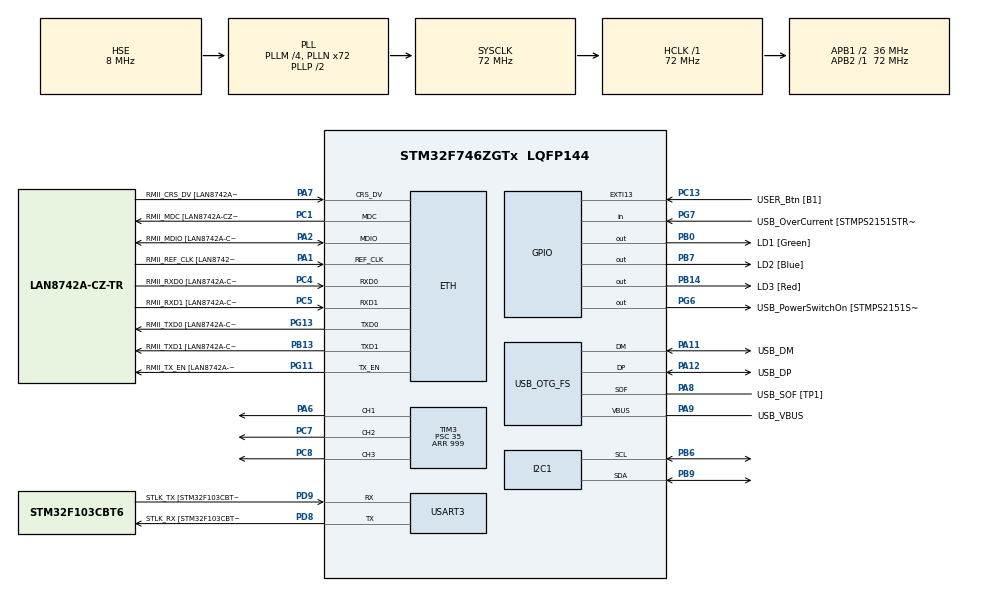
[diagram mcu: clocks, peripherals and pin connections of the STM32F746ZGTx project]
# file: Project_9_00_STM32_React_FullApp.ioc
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ETH.MediaInterface=ETH_MEDIA_INTERFACE_RMII
ETH.PHY_Name=LAN8742A_PHY_ADDRESS
ETH.PHY_Value=0
ETH.PhyAddress=0
I2C1.Timing=0x00808CD2
Mcu.Family=STM32F7
Mcu.Name=STM32F746ZGTx
Mcu.Package=LQFP144
NVIC.PriorityGroup=NVIC_PRIORITYGROUP_4
NVIC.USART3_IRQn=true\:0\:0\:false\:false\:true\:true\:true
PA1.GPIO_Label=RMII_REF_CLK [LAN8742A-CZ-TR_REFCLK0]
PA1.Mode=RMII
PA1.Signal=ETH_REF_CLK
PA10.GPIO_Label=USB_ID
PA10.Signal=USB_OTG_FS_ID
PA11.GPIO_Label=USB_DM
PA11.Mode=Device_Only
PA11.Signal=USB_OTG_FS_DM
PA12.GPIO_Label=USB_DP
PA12.Mode=Device_Only
PA12.Signal=USB_OTG_FS_DP
PA13.GPIO_Label=TMS
PA13.Mode=Serial_Wire
PA13.Signal=SYS_JTMS-SWDIO
PA14.GPIO_Label=TCK
PA14.Mode=Serial_Wire
PA14.Signal=SYS_JTCK-SWCLK
PA2.GPIO_Label=RMII_MDIO [LAN8742A-CZ-TR_MDIO]
PA2.Mode=RMII
PA2.Signal=ETH_MDIO
PA6.Signal=S_TIM3_CH1
PA7.GPIO_Label=RMII_CRS_DV [LAN8742A-CZ-TR_CRS_DV]
PA7.Mode=RMII
PA7.Signal=ETH_CRS_DV
PA8.GPIO_Label=USB_SOF [TP1]
PA8.Mode=Activate_SOF_FS
PA8.Signal=USB_OTG_FS_SOF
PA9.GPIO_Label=USB_VBUS
PA9.Mode=Activate_VBUS
PA9.Signal=USB_OTG_FS_VBUS
PB0.GPIO_Label=LD1 [Green]
PB0.Signal=GPIO_Output
PB13.GPIO_Label=RMII_TXD1 [LAN8742A-CZ-TR_TXD1]
PB13.Mode=RMII
PB13.Signal=ETH_TXD1
PB14.GPIO_Label=LD3 [Red]
PB14.Signal=GPIO_Output
PB3.GPIO_Label=SW0
PB3.Signal=SYS_JTDO-SWO
PB6.Mode=I2C
PB6.Signal=I2C1_SCL
PB7.GPIO_Label=LD2 [Blue]
PB7.Signal=GPIO_Output
PB9.Mode=I2C
PB9.Signal=I2C1_SDA
PC1.GPIO_Label=RMII_MDC [LAN8742A-CZ-TR_MDC]
PC1.Mode=RMII
PC1.Signal=ETH_MDC
PC13.GPIO_Label=USER_Btn [B1]
PC13.Signal=GPXTI13
PC14/OSC32_IN.Mode=LSE-External-Oscillator
PC14/OSC32_IN.Signal=RCC_OSC32_IN
PC15/OSC32_OUT.Mode=LSE-External-Oscillator
PC15/OSC32_OUT.Signal=RCC_OSC32_OUT
PC4.GPIO_Label=RMII_RXD0 [LAN8742A-CZ-TR_RXD0]
PC4.Mode=RMII
PC4.Signal=ETH_RXD0
PC5.GPIO_Label=RMII_RXD1 [LAN8742A-CZ-TR_RXD1]
PC5.Mode=RMII
PC5.Signal=ETH_RXD1
PC7.Signal=S_TIM3_CH2
PC8.Signal=S_TIM3_CH3
PD8.GPIO_Label=STLK_RX [STM32F103CBT6_PA3]
PD8.Mode=Asynchronous
PD8.Signal=USART3_TX
PD9.GPIO_Label=STLK_TX [STM32F103CBT6_PA2]
PD9.Mode=Asynchronous
PD9.Signal=USART3_RX
PG11.GPIO_Label=RMII_TX_EN [LAN8742A-CZ-TR_TXEN]
PG11.Mode=RMII
PG11.Signal=ETH_TX_EN
PG13.GPIO_Label=RMII_TXD0 [LAN8742A-CZ-TR_TXD0]
PG13.Mode=RMII
PG13.Signal=ETH_TXD0
PG6.GPIO_Label=USB_PowerSwitchOn [STMPS2151STR_EN]
PG6.Signal=GPIO_Output
PG7.GPIO_Label=USB_OverCurrent [STMPS2151STR_FAULT]
PG7.Signal=GPIO_Input
PH0/OSC_IN.GPIO_Label=MCO [STM32F103CBT6_PA8]
PH0/OSC_IN.Mode=HSE-External-Clock-Source
PH0/OSC_IN.Signal=RCC_OSC_IN
PH1/OSC_OUT.Mode=HSE-External-Clock-Source
PH1/OSC_OUT.Signal=RCC_OSC_OUT
ProjectManager.HeapSize=0x200
ProjectManager.StackSize=0x400
ProjectManager.TargetToolchain=STM32CubeIDE
RCC.48MHZClocksFreq_Value=24000000
RCC.AHBFreq_Value=72000000
RCC.APB1CLKDivider=RCC_HCLK_DIV2
RCC.APB1Freq_Value=36000000
RCC.APB1TimFreq_Value=72000000
RCC.APB2Freq_Value=72000000
RCC.APB2TimFreq_Value=72000000
RCC.CortexFreq_Value=72000000
RCC.HCLKFreq_Value=72000000
RCC.HSE_VALUE=8000000
RCC.HSI_VALUE=16000000
RCC.PLLM=4
RCC.PLLMUL=RCC_PLL_MUL9
RCC.PLLN=72
RCC.PLLQ=3
RCC.PRESCALERUSB=RCC_USBCLKSOURCE_PLL_DIV1_5
RCC.SYSCLKFreq_VALUE=72000000
RCC.SYSCLKSource=RCC_SYSCLKSOURCE_PLLCLK
RCC.SYSCLKSourceVirtual=RCC_SYSCLKSOURCE_PLLCLK
RCC.USBFreq_Value=48000000
RCC.VCOOutputFreq_Value=144000000
SH.S_TIM3_CH1.0=TIM3_CH1,PWM Generation1 CH1
SH.S_TIM3_CH2.0=TIM3_CH2,PWM Generation2 CH2
SH.S_TIM3_CH3.0=TIM3_CH3,PWM Generation3 CH3
TIM3.Channel-PWM\ Generation1\ CH1=TIM_CHANNEL_1
TIM3.Channel-PWM\ Generation2\ CH2=TIM_CHANNEL_2
TIM3.Channel-PWM\ Generation3\ CH3=TIM_CHANNEL_3
TIM3.Period=999
TIM3.Prescaler=35
USART3.VirtualMode-Asynchronous=VM_ASYNC
USB_OTG_FS.VirtualMode=Device_Only
VP_TIM3_VS_ClockSourceINT.Mode=Internal
board=NUCLEO-F746ZG

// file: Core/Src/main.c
/* USER CODE BEGIN Header */
/**
  ******************************************************************************
  * @file           : main.c
  * @brief          : Main program body
  ******************************************************************************
  * @attention
  *
  * <h2><center>&copy; Copyright (c) 2021 STMicroelectronics.
  * All rights reserved.</center></h2>
  *
  * This software component is licensed by ST under BSD 3-Clause license,
  * the "License"; You may not use this file except in compliance with the
  * License. You may obtain a copy of the License at:
  *                        opensource.org/licenses/BSD-3-Clause
  *
  ******************************************************************************
  */
/* USER CODE END Header */
#include "main.h"
#include "eth.h"
#include "i2c.h"
#include "tim.h"
#include "usart.h"
#include "usb_otg.h"
#include "gpio.h"

/* USER CODE BEGIN Includes */
#include "stdio.h"
#include "string.h"
#include "bh1750.h"
#include "bh1750_config.h"
/* USER CODE END Includes */

void SystemClock_Config(void);

/* USER CODE BEGIN 0 */

char json_data[26];
// sterowany przez www
int RED_procent = 0;
// BLUE prawdopodobnie sterowany bedzie enkoderem
int BLUE_procent = 0;
// odczytywane przez www
int luks_ustawione = 50;
// odczytywane w petli
int luks_odczytane = 50;
int uchyb = 0;
// stale
float k = 0.5;

void transmit_IT_Json_Data(int percent, int lux );

void HAL_UART_RxCpltCallback(UART_HandleTypeDef *huart){
	if(huart-> Instance == USART3){

	  //char json_data [26]="{\"lux\":1000,\"percent\":100}";

	  int percent [1];
	  int lux [1];
	  char * pch;

	  pch = strtok (json_data," \":,{}");

	   while (pch != NULL)
	  {
	    if(strcmp( pch, "percent" ) == 0){
	        pch = strtok (NULL, " \":,{}");
	        sscanf (pch,"%d",percent);
	    } else if(strcmp( pch, "lux" ) == 0){
	        pch = strtok (NULL, " \":,{}");
	        sscanf (pch,"%d",lux);
	    }
	    pch = strtok (NULL, " \":,{}");
	  }
	   lux[0] -= 1000;
	   percent[0] -= 100;

	   if(percent[0]<25){
			HAL_GPIO_WritePin(GPIOB, LD1_Pin, GPIO_PIN_RESET);
			HAL_GPIO_WritePin(GPIOB, LD2_Pin, GPIO_PIN_RESET);
			HAL_GPIO_WritePin(GPIOB, LD3_Pin, GPIO_PIN_RESET);
	   }else if((percent[0]>=25)&&(percent[0]<50)){
			HAL_GPIO_WritePin(GPIOB, LD1_Pin, GPIO_PIN_SET);
			HAL_GPIO_WritePin(GPIOB, LD2_Pin, GPIO_PIN_RESET);
			HAL_GPIO_WritePin(GPIOB, LD3_Pin, GPIO_PIN_RESET);
	   }else if((percent[0]>=50)&&(percent[0]<75)){
			HAL_GPIO_WritePin(GPIOB, LD1_Pin, GPIO_PIN_SET);
			HAL_GPIO_WritePin(GPIOB, LD2_Pin, GPIO_PIN_SET);
			HAL_GPIO_WritePin(GPIOB, LD3_Pin, GPIO_PIN_RESET);
	   }else if(percent[0]>=75){
			HAL_GPIO_WritePin(GPIOB, LD1_Pin, GPIO_PIN_SET);
			HAL_GPIO_WritePin(GPIOB, LD2_Pin, GPIO_PIN_SET);
			HAL_GPIO_WritePin(GPIOB, LD3_Pin, GPIO_PIN_SET);
	   }

	   // ...
	   // Tutaj powinna być funkcja, która weźmie percent[0] jako argument i przetworzy na LUX
	   // ...

	   // Tą funkcję niżej możesz przenieść tam gdzie będzie nowa przetworzona wartość Lux
	   // ..................np. transmit_IT_Json_Data(old_Percent, new_Lux );
	   transmit_IT_Json_Data(percent[0], lux[0] );
	   // <<<<<<<<<<<<<<<<<<<<<<<<<<<<<<<<<<<<<<<<

	   HAL_UART_Receive_IT(&huart3, (uint8_t*)json_data, 26);

	}
}

void transmit_IT_Json_Data(int percent, int lux ){
	if((0 <= percent) && (percent <= 100) && (0 <= lux) && (lux <= 1000)){
		char new_Json_Data[26];

		// Jak będzie rzeczywisty lux, to będziesz mógł zastąpić: oszukane_lux -> lux
		int oszukane_lux = percent + 100;
		int n=sprintf (new_Json_Data, "{\"lux\":%d,\"percent\":%d}", oszukane_lux, percent);
		//....

		HAL_UART_Transmit_IT(&huart3, (uint8_t*)new_Json_Data, n);
	}
}

/* USER CODE END 0 */

int main(void)
{

  /* MCU Configuration--------------------------------------------------------*/

  /* Reset of all peripherals, Initializes the Flash interface and the Systick. */
  HAL_Init();

  /* Configure the system clock */
  SystemClock_Config();

  /* Initialize all configured peripherals */
  MX_GPIO_Init();
  MX_ETH_Init();
  MX_USART3_UART_Init();
  MX_USB_OTG_FS_PCD_Init();
  MX_I2C1_Init();
  MX_TIM3_Init();
  /* USER CODE BEGIN 2 */

  HAL_TIM_PWM_Start(&htim3, TIM_CHANNEL_1);
  HAL_TIM_PWM_Start(&htim3, TIM_CHANNEL_2);
  // inicjalizacja czujnika
  BH1750_Init(&hbh1750_1);

  HAL_UART_Receive_IT(&huart3, (uint8_t*)json_data, 26);

  /* USER CODE END 2 */

  /* Infinite loop */
  /* USER CODE BEGIN WHILE */
  while (1)
  {
	luks_odczytane = (int)(BH1750_ReadLux(&hbh1750_1));
	uchyb = luks_ustawione - luks_odczytane;
	RED_procent += (int)(k*uchyb);
	if(RED_procent > 1000){
		RED_procent = 1000;
	}
	if(RED_procent < 0){
			RED_procent = 0;
	}
	__HAL_TIM_SET_COMPARE(&htim3, TIM_CHANNEL_1, RED_procent);
    /* USER CODE END WHILE */

    /* USER CODE BEGIN 3 */
	HAL_Delay(200);
  }
  /* USER CODE END 3 */
}

void SystemClock_Config(void)
{
  RCC_OscInitTypeDef RCC_OscInitStruct = {0};
  RCC_ClkInitTypeDef RCC_ClkInitStruct = {0};
  RCC_PeriphCLKInitTypeDef PeriphClkInitStruct = {0};

  /** Configure LSE Drive Capability
  */
  HAL_PWR_EnableBkUpAccess();
  /** Configure the main internal regulator output voltage
  */
  __HAL_RCC_PWR_CLK_ENABLE();
  __HAL_PWR_VOLTAGESCALING_CONFIG(PWR_REGULATOR_VOLTAGE_SCALE3);
  /** Initializes the RCC Oscillators according to the specified parameters
  * in the RCC_OscInitTypeDef structure.
  */
  RCC_OscInitStruct.OscillatorType = RCC_OSCILLATORTYPE_HSE;
  RCC_OscInitStruct.HSEState = RCC_HSE_BYPASS;
  RCC_OscInitStruct.PLL.PLLState = RCC_PLL_ON;
  RCC_OscInitStruct.PLL.PLLSource = RCC_PLLSOURCE_HSE;
  RCC_OscInitStruct.PLL.PLLM = 4;
  RCC_OscInitStruct.PLL.PLLN = 72;
  RCC_OscInitStruct.PLL.PLLP = RCC_PLLP_DIV2;
  RCC_OscInitStruct.PLL.PLLQ = 3;
  if (HAL_RCC_OscConfig(&RCC_OscInitStruct) != HAL_OK)
  {
    Error_Handler();
  }
  /** Initializes the CPU, AHB and APB buses clocks
  */
  RCC_ClkInitStruct.ClockType = RCC_CLOCKTYPE_HCLK|RCC_CLOCKTYPE_SYSCLK
                              |RCC_CLOCKTYPE_PCLK1|RCC_CLOCKTYPE_PCLK2;
  RCC_ClkInitStruct.SYSCLKSource = RCC_SYSCLKSOURCE_PLLCLK;
  RCC_ClkInitStruct.AHBCLKDivider = RCC_SYSCLK_DIV1;
  RCC_ClkInitStruct.APB1CLKDivider = RCC_HCLK_DIV2;
  RCC_ClkInitStruct.APB2CLKDivider = RCC_HCLK_DIV1;

  if (HAL_RCC_ClockConfig(&RCC_ClkInitStruct, FLASH_LATENCY_2) != HAL_OK)
  {
    Error_Handler();
  }
  PeriphClkInitStruct.PeriphClockSelection = RCC_PERIPHCLK_USART3|RCC_PERIPHCLK_I2C1
                              |RCC_PERIPHCLK_CLK48;
  PeriphClkInitStruct.Usart3ClockSelection = RCC_USART3CLKSOURCE_PCLK1;
  PeriphClkInitStruct.I2c1ClockSelection = RCC_I2C1CLKSOURCE_PCLK1;
  PeriphClkInitStruct.Clk48ClockSelection = RCC_CLK48SOURCE_PLL;
  if (HAL_RCCEx_PeriphCLKConfig(&PeriphClkInitStruct) != HAL_OK)
  {
    Error_Handler();
  }
}

void Error_Handler(void)
{
}

/************************ (C) COPYRIGHT STMicroelectronics *****END OF FILE****/
